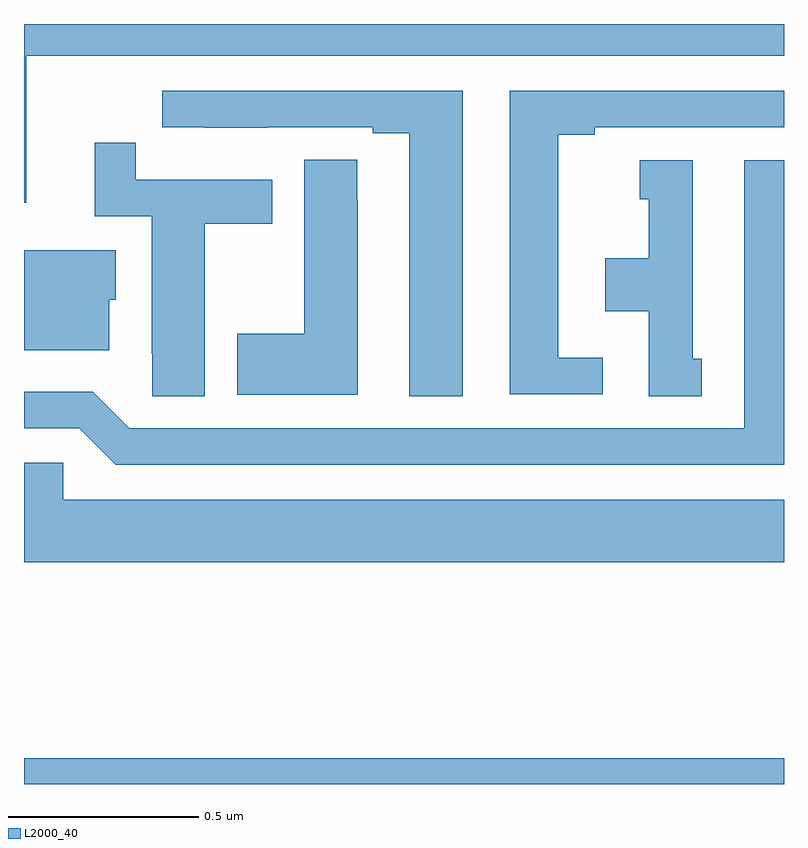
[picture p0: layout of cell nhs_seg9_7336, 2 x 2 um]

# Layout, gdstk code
import gdstk
lib = gdstk.Library(unit=1e-6, precision=1e-09)
def R(c, l, rs):  # rectangles x0, y0, x1, y1
    for r in rs: c.add(gdstk.rectangle(r[:2], r[2:], *l))
def P(c, l, *ps):  # polygons
    for p in ps: c.add(gdstk.Polygon(p, *l))
L2000_40 = (2000, 40)

nhs_seg9_7336 = lib.new_cell('nhs_seg9_7336')
R(nhs_seg9_7336, L2000_40, [(203,1198.5,205,1198.568)])
P(nhs_seg9_7336, L2000_40, [(203.006,1200.416),(205,1200.416),(205,1200.5),(203,1200.5),(203,1200.03),(203.006,1200.03)],
  [(204.523,1199.622),(204.406,1199.622),(204.406,1200.208),(204.502,1200.208),(204.502,1200.228),(205,1200.228),(205,1200.324),(204.278,1200.324),(204.278,1199.526),(204.523,1199.526)],
  [(204.154,1200.324),(203.364,1200.324),(203.364,1200.228),(203.476,1200.228),(203.476,1200.227),(203.642,1200.227),(203.642,1200.228),(203.918,1200.228),(203.918,1200.213),(204.014,1200.213),(204.014,1199.521),(204.154,1199.521)],
  [(203.476,1199.974),(203.653,1199.974),(203.653,1200.09),(203.294,1200.09),(203.294,1200.187),(203.186,1200.187),(203.186,1199.994),(203.336,1199.994),(203.336,1199.632),(203.337,1199.632),(203.337,1199.521),(203.476,1199.521)],
  [(203.878,1200.035),(203.877,1200.035),(203.877,1200.143),(203.738,1200.143),(203.738,1199.685),(203.561,1199.685),(203.561,1199.525),(203.878,1199.525)],
  [(205,1200.142),(204.896,1200.142),(204.896,1199.436),(203.277,1199.436),(203.181,1199.532),(203,1199.532),(203,1199.436),(203.145,1199.436),(203.241,1199.34),(205,1199.34)],
  [(204.784,1199.619),(204.76,1199.619),(204.76,1200.142),(204.62,1200.142),(204.62,1200.039),(204.644,1200.039),(204.644,1199.884),(204.53,1199.884),(204.53,1199.744),(204.644,1199.744),(204.644,1199.521),(204.784,1199.521)],
  [(203.224,1199.775),(203.242,1199.775),(203.242,1199.905),(203,1199.905),(203,1199.642),(203.224,1199.642)],
  [(205,1199.248),(203.103,1199.248),(203.103,1199.346),(203,1199.346),(203,1199.084),(205,1199.084)])

lib.write_gds('nhs_seg9_7336.gds')
